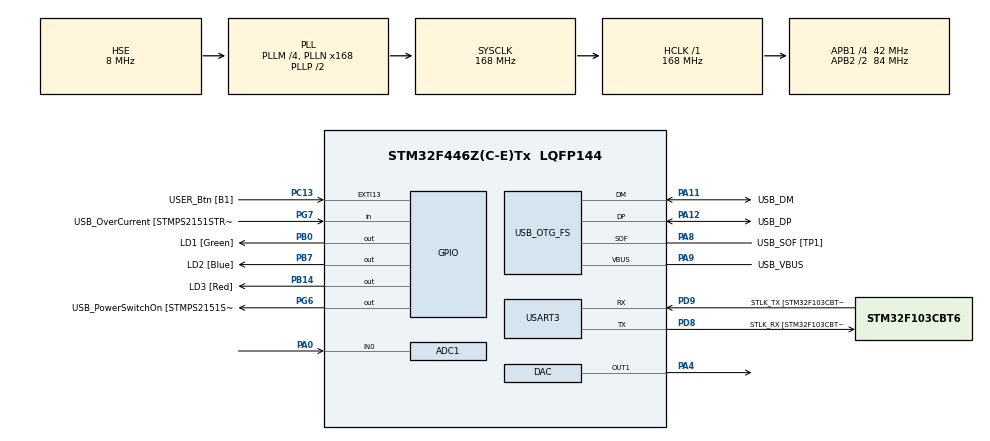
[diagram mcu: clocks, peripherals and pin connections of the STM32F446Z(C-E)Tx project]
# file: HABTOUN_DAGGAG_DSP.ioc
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ADC1.Channel-0\#ChannelRegularConversion=ADC_CHANNEL_0
ADC1.ClockPrescaler=ADC_CLOCK_SYNC_PCLK_DIV8
ADC1.DMAContinuousRequests=ENABLE
ADC1.ExternalTrigConv=ADC_EXTERNALTRIGCONV_T2_TRGO
ADC1.InjNumberOfConversion=0
ADC1.NbrOfConversionFlag=1
ADC1.Rank-0\#ChannelRegularConversion=1
ADC1.SamplingTime-0\#ChannelRegularConversion=ADC_SAMPLETIME_480CYCLES
ADC1.master=1
DAC.DAC_Trigger=DAC_TRIGGER_T2_TRGO
Dma.ADC1.1.Direction=DMA_PERIPH_TO_MEMORY
Dma.ADC1.1.FIFOMode=DMA_FIFOMODE_DISABLE
Dma.ADC1.1.Instance=DMA2_Stream0
Dma.ADC1.1.MemDataAlignment=DMA_MDATAALIGN_HALFWORD
Dma.ADC1.1.MemInc=DMA_MINC_ENABLE
Dma.ADC1.1.Mode=DMA_CIRCULAR
Dma.ADC1.1.PeriphDataAlignment=DMA_PDATAALIGN_HALFWORD
Dma.ADC1.1.PeriphInc=DMA_PINC_DISABLE
Dma.ADC1.1.Priority=DMA_PRIORITY_LOW
Dma.DAC1.0.Direction=DMA_MEMORY_TO_PERIPH
Dma.DAC1.0.FIFOMode=DMA_FIFOMODE_DISABLE
Dma.DAC1.0.Instance=DMA1_Stream5
Dma.DAC1.0.MemDataAlignment=DMA_MDATAALIGN_HALFWORD
Dma.DAC1.0.MemInc=DMA_MINC_ENABLE
Dma.DAC1.0.Mode=DMA_CIRCULAR
Dma.DAC1.0.PeriphDataAlignment=DMA_PDATAALIGN_HALFWORD
Dma.DAC1.0.PeriphInc=DMA_PINC_DISABLE
Dma.DAC1.0.Priority=DMA_PRIORITY_LOW
Dma.Request0=DAC1
Dma.Request1=ADC1
Mcu.Family=STM32F4
Mcu.Name=STM32F446Z(C-E)Tx
Mcu.Package=LQFP144
NVIC.DMA1_Stream5_IRQn=true\:1\:0\:true\:false\:true\:false\:true\:true
NVIC.DMA2_Stream0_IRQn=true\:0\:0\:false\:false\:true\:false\:true\:true
NVIC.PriorityGroup=NVIC_PRIORITYGROUP_2
NVIC.TIM1_UP_TIM10_IRQn=true\:3\:0\:false\:false\:true\:false\:true\:true
NVIC.TimeBase=TIM1_UP_TIM10_IRQn
NVIC.TimeBaseIP=TIM10
PA0-WKUP.Signal=ADCx_IN0
PA10.GPIO_Label=USB_ID
PA10.Signal=USB_OTG_FS_ID
PA11.GPIO_Label=USB_DM
PA11.Mode=Device_Only
PA11.Signal=USB_OTG_FS_DM
PA12.GPIO_Label=USB_DP
PA12.Mode=Device_Only
PA12.Signal=USB_OTG_FS_DP
PA13.GPIO_Label=TMS
PA13.Mode=Serial_Wire
PA13.Signal=SYS_JTMS-SWDIO
PA14.GPIO_Label=TCK
PA14.Mode=Serial_Wire
PA14.Signal=SYS_JTCK-SWCLK
PA4.Signal=COMP_DAC1_group
PA8.GPIO_Label=USB_SOF [TP1]
PA8.Mode=Activate_SOF_FS
PA8.Signal=USB_OTG_FS_SOF
PA9.GPIO_Label=USB_VBUS
PA9.Mode=Activate_VBUS
PA9.Signal=USB_OTG_FS_VBUS
PB0.GPIO_Label=LD1 [Green]
PB0.Signal=GPIO_Output
PB14.GPIO_Label=LD3 [Red]
PB14.Signal=GPIO_Output
PB7.GPIO_Label=LD2 [Blue]
PB7.Signal=GPIO_Output
PC13.GPIO_Label=USER_Btn [B1]
PC13.Signal=GPXTI13
PC14-OSC32_IN.Mode=LSE-External-Oscillator
PC14-OSC32_IN.Signal=RCC_OSC32_IN
PC15-OSC32_OUT.Mode=LSE-External-Oscillator
PC15-OSC32_OUT.Signal=RCC_OSC32_OUT
PD8.GPIO_Label=STLK_RX [STM32F103CBT6_PA3]
PD8.Mode=Asynchronous
PD8.Signal=USART3_TX
PD9.GPIO_Label=STLK_TX [STM32F103CBT6_PA2]
PD9.Mode=Asynchronous
PD9.Signal=USART3_RX
PG6.GPIO_Label=USB_PowerSwitchOn [STMPS2151STR_EN]
PG6.Signal=GPIO_Output
PG7.GPIO_Label=USB_OverCurrent [STMPS2151STR_FAULT]
PG7.Signal=GPIO_Input
PH0-OSC_IN.GPIO_Label=MCO [STM32F103CBT6_PA8]
PH0-OSC_IN.Mode=HSE-External-Clock-Source
PH0-OSC_IN.Signal=RCC_OSC_IN
PH1-OSC_OUT.Mode=HSE-External-Clock-Source
PH1-OSC_OUT.Signal=RCC_OSC_OUT
ProjectManager.HeapSize=0x200
ProjectManager.StackSize=0x400
ProjectManager.TargetToolchain=STM32CubeIDE
RCC.48MHZClocksFreq_Value=24000000
RCC.AHBFreq_Value=168000000
RCC.APB1CLKDivider=RCC_HCLK_DIV4
RCC.APB1Freq_Value=42000000
RCC.APB1TimFreq_Value=84000000
RCC.APB2CLKDivider=RCC_HCLK_DIV2
RCC.APB2Freq_Value=84000000
RCC.APB2TimFreq_Value=168000000
RCC.CortexFreq_Value=168000000
RCC.HCLKFreq_Value=168000000
RCC.HSE_VALUE=8000000
RCC.HSI_VALUE=16000000
RCC.PLLM=4
RCC.PLLMUL=RCC_PLL_MUL9
RCC.PLLN=168
RCC.PLLQ=7
RCC.PRESCALERUSB=RCC_USBCLKSOURCE_PLL_DIV1_5
RCC.SYSCLKFreq_VALUE=168000000
RCC.SYSCLKSource=RCC_SYSCLKSOURCE_PLLCLK
RCC.SYSCLKSourceVirtual=RCC_SYSCLKSOURCE_PLLCLK
RCC.USBFreq_Value=48000000
RCC.VCOOutputFreq_Value=336000000
SH.ADCx_IN0.0=ADC1_IN0,IN0
SH.COMP_DAC1_group.0=DAC_OUT1,DAC_OUT1
TIM2.Period=124
TIM2.Prescaler=83
TIM2.TIM_MasterOutputTrigger=TIM_TRGO_UPDATE
USART3.VirtualMode=VM_ASYNC
USB_OTG_FS.VirtualMode=Device_Only
VP_SYS_VS_tim10.Mode=TIM10
VP_TIM2_VS_ClockSourceINT.Mode=Internal
board=NUCLEO-F446ZE

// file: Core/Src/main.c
/* USER CODE BEGIN Header */
/**
 ******************************************************************************
 * @file           : main.c
 * @brief          : Main program body
 ******************************************************************************
 * @attention
 *
 * Copyright (c) 2026 STMicroelectronics.
 * All rights reserved.
 *
 * This software is licensed under terms that can be found in the LICENSE file
 * in the root directory of this software component.
 * If no LICENSE file comes with this software, it is provided AS-IS.
 *
 ******************************************************************************
 */
/* USER CODE END Header */
#include "main.h"

/* USER CODE BEGIN Includes */
#include "arm_math.h"
/* USER CODE END Includes */

/* USER CODE BEGIN PD */
#define AUDIO_BLOCK_SIZE     128U
#define AUDIO_DMA_BUFFER_SIZE (AUDIO_BLOCK_SIZE * 2U)

/* CORRECTION 1 : arm_fir_fast_q15 exige NUM_TAPS multiple de 4.
   29 n'est pas multiple de 4 → HardFault garanti.
   On passe à 32 et on pad les coefficients avec des zéros. */
#define NUM_TAPS             32U

#define ADC_CENTER_12BIT     2048
#define ADC_TO_Q15_SHIFT     4
#define INPUT_GUARD_BITS     5U
#define VOICE_THRESHOLD_Q15  400
/* USER CODE END PD */

ADC_HandleTypeDef hadc1;
DMA_HandleTypeDef hdma_adc1;

DAC_HandleTypeDef hdac;
DMA_HandleTypeDef hdma_dac1;

TIM_HandleTypeDef htim2;

UART_HandleTypeDef huart3;

PCD_HandleTypeDef hpcd_USB_OTG_FS;

/* USER CODE BEGIN PV */
__attribute__((aligned(4))) static uint16_t adc12bit[AUDIO_DMA_BUFFER_SIZE];
__attribute__((aligned(4))) static uint16_t dac12bit[AUDIO_DMA_BUFFER_SIZE];

/* CORRECTION 2 : firStateQ15 doit avoir une taille paire.
   (AUDIO_BLOCK_SIZE + NUM_TAPS - 1) = 128 + 32 - 1 = 159 → impair.
   On arrondit au prochain entier pair avec (... + 1U) & ~1U → 160. */
__attribute__((aligned(4))) static q15_t firStateQ15[((AUDIO_BLOCK_SIZE + NUM_TAPS - 1U) + 1U) & ~1U];

__attribute__((aligned(4))) static q15_t firInputQ15[AUDIO_BLOCK_SIZE];
__attribute__((aligned(4))) static q15_t firOutputQ15[AUDIO_BLOCK_SIZE];

/* CORRECTION 3 : tableau padé à 32 coefficients (3 zéros ajoutés en fin).
   Le filtre passe-bas reste identique ; les taps supplémentaires valent 0. */
static const float32_t firCoeffs32[NUM_TAPS] = {
  -0.0018225230f, -0.0015879294f, +0.0000000000f, +0.0036977508f,
  +0.0080754303f, +0.0085302217f, -0.0000000000f, -0.0173976984f,
  -0.0341458607f, -0.0333591565f, +0.0000000000f, +0.0676308395f,
  +0.1522061835f, +0.2229246956f, +0.2504960933f, +0.2229246956f,
  +0.1522061835f, +0.0676308395f, +0.0000000000f, -0.0333591565f,
  -0.0341458607f, -0.0173976984f, -0.0000000000f, +0.0085302217f,
  +0.0080754303f, +0.0036977508f, +0.0000000000f, -0.0015879294f,
  -0.0018225230f,
   0.0f, 0.0f, 0.0f   /* padding pour atteindre NUM_TAPS = 32 */
};

__attribute__((aligned(4))) static q15_t firCoeffsQ15[NUM_TAPS];
static arm_fir_instance_q15 firQ15;

static volatile uint8_t  adcHalfReady = 0U;
static volatile uint8_t  adcFullReady = 0U;
static volatile uint16_t inSWV  = 0U;
static volatile uint16_t outSWV = 0U;

static volatile uint32_t firCyclesLast = 0U;
static volatile uint32_t firCyclesMin = 0xFFFFFFFFU;
static volatile uint32_t firCyclesMax = 0U;
static volatile uint32_t firCyclesPerSample = 0U;
static volatile uint32_t firUsecPerBlock = 0U;
static volatile uint64_t firCyclesSum = 0U;
static volatile uint32_t firBlocks = 0U;

static volatile uint32_t sampleRateHz = 0U;
static volatile uint32_t firGroupDelaySamples = 0U;
static volatile uint32_t firGroupDelayUs = 0U;
/* USER CODE END PV */

void SystemClock_Config(void);
static void MX_GPIO_Init(void);
static void MX_DMA_Init(void);
static void MX_USART3_UART_Init(void);
static void MX_USB_OTG_FS_PCD_Init(void);
static void MX_DAC_Init(void);
static void MX_ADC1_Init(void);
static void MX_TIM2_Init(void);
/* USER CODE BEGIN PFP */
static void init_dwt_cycle_counter(void);
static uint32_t get_tim2_update_hz(void);
static void update_fir_timing(uint32_t cycles);

/* USER CODE END PFP */

/* USER CODE BEGIN 0 */
static void init_dwt_cycle_counter(void)
{
  CoreDebug->DEMCR |= CoreDebug_DEMCR_TRCENA_Msk;
  DWT->CYCCNT = 0U;
  DWT->CTRL |= DWT_CTRL_CYCCNTENA_Msk;
}

static uint32_t get_tim2_update_hz(void)
{
  uint32_t pclk1 = HAL_RCC_GetPCLK1Freq();
  uint32_t timclk = pclk1;

  if ((RCC->CFGR & RCC_CFGR_PPRE1) != RCC_CFGR_PPRE1_DIV1)
  {
    timclk = pclk1 * 2U;
  }

  return timclk / ((htim2.Init.Prescaler + 1U) * (htim2.Init.Period + 1U));
}

static void update_fir_timing(uint32_t cycles)
{
  firCyclesLast = cycles;
  if (cycles < firCyclesMin)
  {
    firCyclesMin = cycles;
  }
  if (cycles > firCyclesMax)
  {
    firCyclesMax = cycles;
  }

  firCyclesSum += cycles;
  firBlocks++;

  firCyclesPerSample = cycles / AUDIO_BLOCK_SIZE;
  if (SystemCoreClock != 0U)
  {
    firUsecPerBlock = (uint32_t)((cycles * 1000000ULL) / SystemCoreClock);
  }
}

static void process_audio_block(uint32_t offset)
{
  uint32_t i;

  for (i = 0; i < AUDIO_BLOCK_SIZE; i++)
  {
    int32_t centered = (int32_t)adc12bit[offset + i] - ADC_CENTER_12BIT;
    int32_t q15 = centered << ADC_TO_Q15_SHIFT;
    q15 = q15 >> INPUT_GUARD_BITS;
    if (q15 > 32767)
    {
      q15 = 32767;
    }
    else if (q15 < -32768)
    {
      q15 = -32768;
    }
    firInputQ15[i] = (q15_t)q15;
  }

  uint32_t startCycles = DWT->CYCCNT;
  arm_fir_fast_q15(&firQ15, firInputQ15, firOutputQ15, AUDIO_BLOCK_SIZE);
  uint32_t endCycles = DWT->CYCCNT;
  update_fir_timing(endCycles - startCycles);

  {
    uint32_t sum = 0U;

    for (i = 0; i < AUDIO_BLOCK_SIZE; i++)
    {
      int32_t v = firOutputQ15[i];
      if (v < 0)
      {
        v = -v;
      }
      sum += (uint32_t)v;

      int32_t y = (int32_t)firOutputQ15[i] << INPUT_GUARD_BITS;
      if (y > 32767)
      {
        y = 32767;
      }
      else if (y < -32768)
      {
        y = -32768;
      }

      y = (y >> ADC_TO_Q15_SHIFT) + ADC_CENTER_12BIT;
      if (y > 4095)
      {
        y = 4095;
      }
      else if (y < 0)
      {
        y = 0;
      }
      dac12bit[offset + i] = (uint16_t)y;
    }

    if ((sum / AUDIO_BLOCK_SIZE) > VOICE_THRESHOLD_Q15)
    {
      HAL_GPIO_WritePin(GPIOB, LD2_Pin, GPIO_PIN_SET);
    }
    else
    {
      HAL_GPIO_WritePin(GPIOB, LD2_Pin, GPIO_PIN_RESET);
    }
  }

  inSWV  = adc12bit[offset];
  outSWV = dac12bit[offset];
}

static void startup_blink(void)
{
  for (uint32_t i = 0; i < 3U; i++)
  {
    HAL_GPIO_WritePin(GPIOB, LD2_Pin, GPIO_PIN_SET);
    HAL_Delay(100);
    HAL_GPIO_WritePin(GPIOB, LD2_Pin, GPIO_PIN_RESET);
    HAL_Delay(100);
  }
}

/* USER CODE END 0 */

int main(void)
{

  /* MCU Configuration--------------------------------------------------------*/

  /* Reset of all peripherals, Initializes the Flash interface and the Systick. */
  HAL_Init();

  /* Configure the system clock */
  SystemClock_Config();

  /* Initialize all configured peripherals */
  MX_GPIO_Init();
  MX_DMA_Init();
  MX_USART3_UART_Init();
  MX_USB_OTG_FS_PCD_Init();
  MX_DAC_Init();
  MX_ADC1_Init();
  MX_TIM2_Init();
  /* USER CODE BEGIN 2 */
  arm_float_to_q15((float32_t *)firCoeffs32, firCoeffsQ15, NUM_TAPS);
  arm_fir_init_q15(&firQ15, NUM_TAPS, firCoeffsQ15, firStateQ15, AUDIO_BLOCK_SIZE);

  init_dwt_cycle_counter();

  sampleRateHz = get_tim2_update_hz();
  firGroupDelaySamples = (NUM_TAPS - 1U) / 2U;
  if (sampleRateHz != 0U)
  {
    firGroupDelayUs = (firGroupDelaySamples * 1000000U) / sampleRateHz;
  }

  for (uint32_t i = 0; i < AUDIO_DMA_BUFFER_SIZE; i++)
  {
    dac12bit[i] = ADC_CENTER_12BIT;
  }

  /* Démarrage du timer 2 (TRGO pour ADC/DAC) */
  if (HAL_TIM_Base_Start(&htim2) != HAL_OK)
  {
    Error_Handler();
  }

  /* Démarrage du DAC associé au buffer dac12bit via le DMA1 */
  if (HAL_DAC_Start_DMA(&hdac, DAC_CHANNEL_1, (uint32_t *)dac12bit, AUDIO_DMA_BUFFER_SIZE, DAC_ALIGN_12B_R) != HAL_OK)
  {
    Error_Handler();
  }

  /* Démarrage de l'ADC via le DMA en mode circulaire */
  if (HAL_ADC_Start_DMA(&hadc1, (uint32_t*)adc12bit, AUDIO_DMA_BUFFER_SIZE) != HAL_OK)
  {
    Error_Handler();
  }
  /* USER CODE END 2 */

  /* Infinite loop */
  while (1)
  {

    /* USER CODE BEGIN 3 */
    if (adcHalfReady != 0U)
    {
      adcHalfReady = 0U;
      process_audio_block(0U);
    }

    if (adcFullReady != 0U)
    {
      adcFullReady = 0U;
      process_audio_block(AUDIO_BLOCK_SIZE);
    }
  }
  /* USER CODE END 3 */
}

void SystemClock_Config(void)
{
  RCC_OscInitTypeDef RCC_OscInitStruct = {0};
  RCC_ClkInitTypeDef RCC_ClkInitStruct = {0};

  /** Configure the main internal regulator output voltage
  */
  __HAL_RCC_PWR_CLK_ENABLE();
  __HAL_PWR_VOLTAGESCALING_CONFIG(PWR_REGULATOR_VOLTAGE_SCALE1);

  /** Initializes the RCC Oscillators according to the specified parameters
  * in the RCC_OscInitTypeDef structure.
  */
  RCC_OscInitStruct.OscillatorType = RCC_OSCILLATORTYPE_HSE;
  RCC_OscInitStruct.HSEState = RCC_HSE_BYPASS;
  RCC_OscInitStruct.PLL.PLLState = RCC_PLL_ON;
  RCC_OscInitStruct.PLL.PLLSource = RCC_PLLSOURCE_HSE;
  RCC_OscInitStruct.PLL.PLLM = 4;
  RCC_OscInitStruct.PLL.PLLN = 168;
  RCC_OscInitStruct.PLL.PLLP = RCC_PLLP_DIV2;
  RCC_OscInitStruct.PLL.PLLQ = 7;
  RCC_OscInitStruct.PLL.PLLR = 2;
  if (HAL_RCC_OscConfig(&RCC_OscInitStruct) != HAL_OK)
  {
    Error_Handler();
  }

  /** Initializes the CPU, AHB and APB buses clocks
  */
  RCC_ClkInitStruct.ClockType = RCC_CLOCKTYPE_HCLK|RCC_CLOCKTYPE_SYSCLK
                              |RCC_CLOCKTYPE_PCLK1|RCC_CLOCKTYPE_PCLK2;
  RCC_ClkInitStruct.SYSCLKSource = RCC_SYSCLKSOURCE_PLLCLK;
  RCC_ClkInitStruct.AHBCLKDivider = RCC_SYSCLK_DIV1;
  RCC_ClkInitStruct.APB1CLKDivider = RCC_HCLK_DIV4;
  RCC_ClkInitStruct.APB2CLKDivider = RCC_HCLK_DIV2;

  if (HAL_RCC_ClockConfig(&RCC_ClkInitStruct, FLASH_LATENCY_5) != HAL_OK)
  {
    Error_Handler();
  }
}

static void MX_ADC1_Init(void)
{

  ADC_ChannelConfTypeDef sConfig = {0};

  /** Configure the global features of the ADC (Clock, Resolution, Data Alignment and number of conversion)
  */
  hadc1.Instance = ADC1;
  hadc1.Init.ClockPrescaler = ADC_CLOCK_SYNC_PCLK_DIV8;
  hadc1.Init.Resolution = ADC_RESOLUTION_12B;
  hadc1.Init.ScanConvMode = DISABLE;
  hadc1.Init.ContinuousConvMode = DISABLE;
  hadc1.Init.DiscontinuousConvMode = DISABLE;
  hadc1.Init.ExternalTrigConvEdge = ADC_EXTERNALTRIGCONVEDGE_RISING;
  hadc1.Init.ExternalTrigConv = ADC_EXTERNALTRIGCONV_T2_TRGO;
  hadc1.Init.DataAlign = ADC_DATAALIGN_RIGHT;
  hadc1.Init.NbrOfConversion = 1;
  hadc1.Init.DMAContinuousRequests = ENABLE;
  hadc1.Init.EOCSelection = ADC_EOC_SINGLE_CONV;
  if (HAL_ADC_Init(&hadc1) != HAL_OK)
  {
    Error_Handler();
  }

  /** Configure for the selected ADC regular channel its corresponding rank in the sequencer and its sample time.
  */
  sConfig.Channel = ADC_CHANNEL_0;
  sConfig.Rank = 1;
  sConfig.SamplingTime = ADC_SAMPLETIME_480CYCLES;
  if (HAL_ADC_ConfigChannel(&hadc1, &sConfig) != HAL_OK)
  {
    Error_Handler();
  }

}

static void MX_DAC_Init(void)
{

  DAC_ChannelConfTypeDef sConfig = {0};

  /** DAC Initialization
  */
  hdac.Instance = DAC;
  if (HAL_DAC_Init(&hdac) != HAL_OK)
  {
    Error_Handler();
  }

  /** DAC channel OUT1 config
  */
  sConfig.DAC_Trigger = DAC_TRIGGER_T2_TRGO;
  sConfig.DAC_OutputBuffer = DAC_OUTPUTBUFFER_ENABLE;
  if (HAL_DAC_ConfigChannel(&hdac, &sConfig, DAC_CHANNEL_1) != HAL_OK)
  {
    Error_Handler();
  }

}

static void MX_TIM2_Init(void)
{

  TIM_ClockConfigTypeDef sClockSourceConfig = {0};
  TIM_MasterConfigTypeDef sMasterConfig = {0};

  htim2.Instance = TIM2;
  htim2.Init.Prescaler = 83;
  htim2.Init.CounterMode = TIM_COUNTERMODE_UP;
  htim2.Init.Period = 124;
  htim2.Init.ClockDivision = TIM_CLOCKDIVISION_DIV1;
  htim2.Init.AutoReloadPreload = TIM_AUTORELOAD_PRELOAD_DISABLE;
  if (HAL_TIM_Base_Init(&htim2) != HAL_OK)
  {
    Error_Handler();
  }
  sClockSourceConfig.ClockSource = TIM_CLOCKSOURCE_INTERNAL;
  if (HAL_TIM_ConfigClockSource(&htim2, &sClockSourceConfig) != HAL_OK)
  {
    Error_Handler();
  }
  sMasterConfig.MasterOutputTrigger = TIM_TRGO_UPDATE;
  sMasterConfig.MasterSlaveMode = TIM_MASTERSLAVEMODE_DISABLE;
  if (HAL_TIMEx_MasterConfigSynchronization(&htim2, &sMasterConfig) != HAL_OK)
  {
    Error_Handler();
  }

}

static void MX_USART3_UART_Init(void)
{

  huart3.Instance = USART3;
  huart3.Init.BaudRate = 115200;
  huart3.Init.WordLength = UART_WORDLENGTH_8B;
  huart3.Init.StopBits = UART_STOPBITS_1;
  huart3.Init.Parity = UART_PARITY_NONE;
  huart3.Init.Mode = UART_MODE_TX_RX;
  huart3.Init.HwFlowCtl = UART_HWCONTROL_NONE;
  huart3.Init.OverSampling = UART_OVERSAMPLING_16;
  if (HAL_UART_Init(&huart3) != HAL_OK)
  {
    Error_Handler();
  }

}

static void MX_USB_OTG_FS_PCD_Init(void)
{

  hpcd_USB_OTG_FS.Instance = USB_OTG_FS;
  hpcd_USB_OTG_FS.Init.dev_endpoints = 6;
  hpcd_USB_OTG_FS.Init.speed = PCD_SPEED_FULL;
  hpcd_USB_OTG_FS.Init.dma_enable = DISABLE;
  hpcd_USB_OTG_FS.Init.phy_itface = PCD_PHY_EMBEDDED;
  hpcd_USB_OTG_FS.Init.Sof_enable = ENABLE;
  hpcd_USB_OTG_FS.Init.low_power_enable = DISABLE;
  hpcd_USB_OTG_FS.Init.lpm_enable = DISABLE;
  hpcd_USB_OTG_FS.Init.vbus_sensing_enable = ENABLE;
  hpcd_USB_OTG_FS.Init.use_dedicated_ep1 = DISABLE;
  if (HAL_PCD_Init(&hpcd_USB_OTG_FS) != HAL_OK)
  {
    Error_Handler();
  }

}

static void MX_DMA_Init(void)
{

  /* DMA controller clock enable */
  __HAL_RCC_DMA1_CLK_ENABLE();
  __HAL_RCC_DMA2_CLK_ENABLE();

  /* DMA interrupt init */
  /* DMA1_Stream5_IRQn interrupt configuration */
  HAL_NVIC_SetPriority(DMA1_Stream5_IRQn, 1, 0);
  HAL_NVIC_EnableIRQ(DMA1_Stream5_IRQn);
  /* DMA2_Stream0_IRQn interrupt configuration */
  HAL_NVIC_SetPriority(DMA2_Stream0_IRQn, 0, 0);
  HAL_NVIC_EnableIRQ(DMA2_Stream0_IRQn);

}

static void MX_GPIO_Init(void)
{
  GPIO_InitTypeDef GPIO_InitStruct = {0};

  /* GPIO Ports Clock Enable */
  __HAL_RCC_GPIOC_CLK_ENABLE();
  __HAL_RCC_GPIOH_CLK_ENABLE();
  __HAL_RCC_GPIOA_CLK_ENABLE();
  __HAL_RCC_GPIOB_CLK_ENABLE();
  __HAL_RCC_GPIOD_CLK_ENABLE();
  __HAL_RCC_GPIOG_CLK_ENABLE();

  /*Configure GPIO pin Output Level */
  HAL_GPIO_WritePin(GPIOB, LD1_Pin|LD3_Pin|LD2_Pin, GPIO_PIN_RESET);

  /*Configure GPIO pin Output Level */
  HAL_GPIO_WritePin(USB_PowerSwitchOn_GPIO_Port, USB_PowerSwitchOn_Pin, GPIO_PIN_RESET);

  /*Configure GPIO pin : USER_Btn_Pin */
  GPIO_InitStruct.Pin = USER_Btn_Pin;
  GPIO_InitStruct.Mode = GPIO_MODE_IT_RISING;
  GPIO_InitStruct.Pull = GPIO_NOPULL;
  HAL_GPIO_Init(USER_Btn_GPIO_Port, &GPIO_InitStruct);

  /*Configure GPIO pins : LD1_Pin LD3_Pin LD2_Pin */
  GPIO_InitStruct.Pin = LD1_Pin|LD3_Pin|LD2_Pin;
  GPIO_InitStruct.Mode = GPIO_MODE_OUTPUT_PP;
  GPIO_InitStruct.Pull = GPIO_NOPULL;
  GPIO_InitStruct.Speed = GPIO_SPEED_FREQ_LOW;
  HAL_GPIO_Init(GPIOB, &GPIO_InitStruct);

  /*Configure GPIO pin : USB_PowerSwitchOn_Pin */
  GPIO_InitStruct.Pin = USB_PowerSwitchOn_Pin;
  GPIO_InitStruct.Mode = GPIO_MODE_OUTPUT_PP;
  GPIO_InitStruct.Pull = GPIO_NOPULL;
  GPIO_InitStruct.Speed = GPIO_SPEED_FREQ_LOW;
  HAL_GPIO_Init(USB_PowerSwitchOn_GPIO_Port, &GPIO_InitStruct);

  /*Configure GPIO pin : USB_OverCurrent_Pin */
  GPIO_InitStruct.Pin = USB_OverCurrent_Pin;
  GPIO_InitStruct.Mode = GPIO_MODE_INPUT;
  GPIO_InitStruct.Pull = GPIO_NOPULL;
  HAL_GPIO_Init(USB_OverCurrent_GPIO_Port, &GPIO_InitStruct);

}

/* USER CODE BEGIN 4 */

void HAL_ADC_ConvHalfCpltCallback(ADC_HandleTypeDef *hadc)
{
  if (hadc->Instance == ADC1)
  {
    adcHalfReady = 1U;
  }
}

void HAL_ADC_ConvCpltCallback(ADC_HandleTypeDef *hadc)
{
  if (hadc->Instance == ADC1)
  {
    adcFullReady = 1U;
  }
}

/* USER CODE END 4 */

void HAL_TIM_PeriodElapsedCallback(TIM_HandleTypeDef *htim)
{
  if (htim->Instance == TIM10)
  {
    HAL_IncTick();
  }
}

void Error_Handler(void)
{
  __disable_irq();
  while (1)
  {
  }
}
